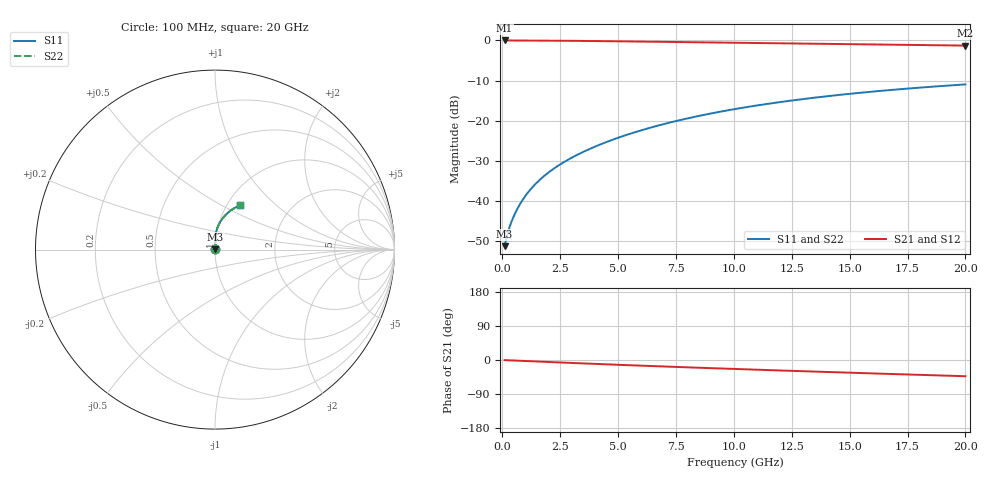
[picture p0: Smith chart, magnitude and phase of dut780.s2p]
! Touchstone file exported from HFSS 2024.1.0
!  File:  C:/UserFiles/LocalFiles/RDL_TSV_Batchsim/temp_RDL_top_780_1779852964.aedt
!  Generated:  11:38:20 AM May 27, 2026
!  Design:  RDL_top
!  Project:  temp_RDL_top_780_1779852964
!  Setup:  Setup1
!  Solution:  Sweep
! Variables:
!  dtsv = 10.80580581um
!  hbump = 3um
!  htsv = 70.74um
!  ldown = 100um
!  lrdl = 698.48um
!  p = 40
!  p1 = 42.71um
!  rhole = 1um
!  t = 450um
!  tdown = 3.915915916um
!  trdl = 4.53um
!  wdown = 15.38538539um
!  wrdl = 25.48um
# GHz S MA R 50.000000
! Terminal data exported
! Port[1] = Box2_T1
! Port[2] = Box2_T2
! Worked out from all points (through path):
!   200 points, 100 MHz to 20 GHz, reference 50 ohm
!   highest |S21| = -0.02 dB at 100 MHz (marker M1); lowest = -1.3 dB at 20 GHz (marker M2)
!   group delay of S21, straight-line fit = 5.87 ps
!   lowest |S11| = -51.2 dB at 100 MHz (marker M3), VSWR 1.01, Z = 50.2 + j0.142 ohm
!   |S11| at or under -10 dB: start of sweep to end of sweep
!   |S22| runs from -51.2 to -10.9 dB; largest |S21 - S12| = 1.5e-14
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0.1  0.002764 30.7  0.9976 -0.3  0.9976 -0.3  0.002764 30.7
! Gamma 0 0 0 0
! Port Impedance 50 0 50 0
0.2  0.003699 45.5  0.9973 -0.6  0.9973 -0.6  0.003699 45.5
0.3  0.004649 53.6  0.9971 -0.8  0.9971 -0.8  0.004648 53.6
0.4  0.005595 59.4  0.9969 -1.1  0.9969 -1.1  0.005595 59.4
0.5  0.006558 63.7  0.9968 -1.3  0.9968 -1.3  0.006558 63.7
0.6  0.007545 67.2  0.9966 -1.6  0.9966 -1.6  0.007545 67.2
0.8  0.009584 72.2  0.9962 -2.1  0.9962 -2.1  0.009583 72.2
1  0.01169 75.7  0.9958 -2.7  0.9958 -2.7  0.01169 75.7
1.2  0.01385 78.2  0.9953 -3.2  0.9953 -3.2  0.01385 78.2
1.7  0.0194 82.3  0.9936 -4.5  0.9936 -4.5  0.0194 82.3
2.2  0.02517 84.7  0.9916 -5.8  0.9916 -5.8  0.02516 84.7
2.8  0.03236 86.5  0.9885 -7.3  0.9885 -7.3  0.03236 86.5
3.5  0.04116 87.7  0.9843 -9.0  0.9843 -9.0  0.04116 87.7
4.2  0.05041 88.3  0.9796 -10.7  0.9796 -10.7  0.05041 88.3
5  0.06153 88.4  0.9738 -12.7  0.9738 -12.7  0.06154 88.4
6.8  0.08836 87.0  0.9597 -16.8  0.9597 -16.8  0.08838 87.1
8.4  0.1136 84.6  0.9468 -20.2  0.9468 -20.2  0.1136 84.7
10.1  0.1409 81.4  0.9333 -23.8  0.9333 -23.8  0.1409 81.4
11.7  0.1663 78.0  0.9209 -27.1  0.9209 -27.1  0.1664 78.1
13.4  0.1927 74.3  0.9081 -30.4  0.9081 -30.4  0.1928 74.4
16.7  0.2407 67.1  0.8841 -36.7  0.8841 -36.7  0.2408 67.2
20  0.2835 60.3  0.8612 -42.8  0.8612 -42.8  0.2837 60.4
